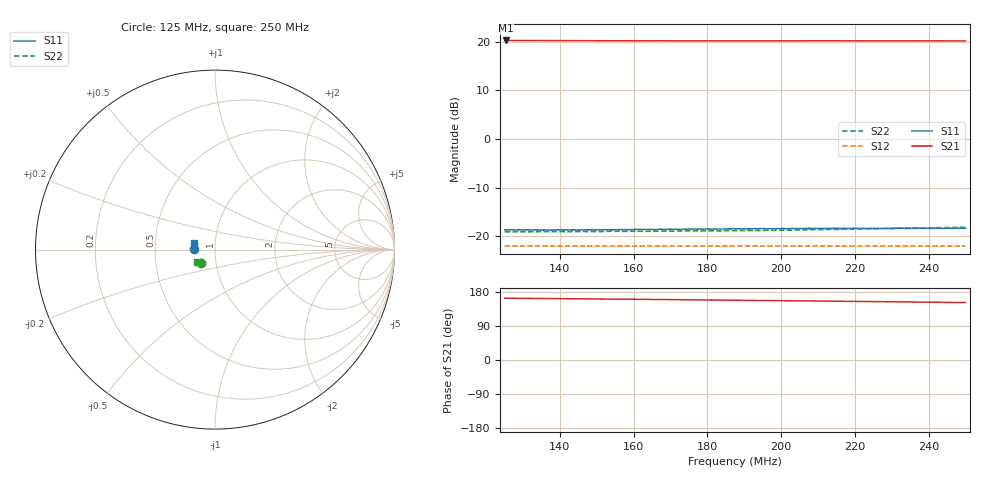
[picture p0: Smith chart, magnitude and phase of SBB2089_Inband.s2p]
!Agilent Technologies,N5230A,US44240068,A.07.50.67
!Agilent N5230A: A.07.50.67
!Date: Wednesday, November 10, 2021 19:12:37
!Correction: S11(Full 2 Port(1,2))
!S21(Full 2 Port(1,2))
!S12(Full 2 Port(1,2))
!S22(Full 2 Port(1,2))
!S2P File: Measurements: S11, S21, S12, S22:
# Hz S  dB  R 50
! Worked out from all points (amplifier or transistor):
!   3201 points, 125 MHz to 250 MHz, reference 50 ohm
!   highest |S21| = 20.3 dB at 125.3 MHz (marker M1)
!   |S21| within 3 dB of that: start of sweep to end of sweep
!   unconditionally stable (mu >= 1): start of sweep to end of sweep
!   at 145.8 MHz: K = 1.01, MAG = 20.5 dB, |S12| = -22.0 dB
!   at 187.5 MHz: K = 1.01, MAG = 20.4 dB, |S12| = -22.0 dB
!   at 250 MHz: K = 1.01, MAG = 20.5 dB, |S12| = -22.0 dB
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1.25e8  -18.62 179.3  20.27 163.1  -21.95 -6.9  -19.08 -135.9
1.252734e8  -18.65 179.3  20.27 163.1  -21.95 -7.1  -19.06 -135.9
1.272266e8  -18.67 179.2  20.26 162.9  -21.97 -7.0  -19.05 -136.3
1.305078e8  -18.68 178.8  20.26 162.7  -21.97 -7.4  -19.06 -136.9
1.328906e8  -18.69 178.6  20.25 162.5  -21.99 -7.5  -19.03 -137.5
1.395312e8  -18.65 177.8  20.23 161.9  -21.98 -8.0  -19.03 -138.4
1.458594e8  -18.67 177.0  20.22 161.4  -21.97 -8.6  -19.00 -139.1
1.530078e8  -18.62 176.4  20.21 160.9  -21.96 -9.0  -18.97 -140.2
1.666797e8  -18.56 174.2  20.20 159.7  -21.97 -10.1  -18.92 -141.4
1.688281e8  -18.56 173.9  20.20 159.5  -21.96 -10.1  -18.91 -141.8
1.709766e8  -18.56 173.7  20.19 159.3  -21.99 -10.3  -18.88 -142.0
1.808984e8  -18.49 172.3  20.19 158.4  -21.96 -10.9  -18.86 -142.6
1.830469e8  -18.49 171.8  20.20 158.2  -21.97 -11.0  -18.87 -142.7
1.848047e8  -18.49 171.5  20.19 158.1  -21.97 -11.4  -18.84 -142.8
1.875e8  -18.44 171.0  20.19 157.8  -21.97 -11.6  -18.81 -142.9
1.974219e8  -18.43 169.5  20.20 156.9  -21.98 -12.2  -18.76 -143.3
2.083594e8  -18.38 167.9  20.20 155.8  -21.95 -13.0  -18.64 -143.7
2.134766e8  -18.38 167.1  20.20 155.3  -21.97 -13.6  -18.56 -143.6
2.291797e8  -18.35 164.8  20.20 153.7  -21.97 -14.7  -18.39 -144.3
2.390234e8  -18.32 163.3  20.19 152.7  -21.96 -15.2  -18.26 -144.4
2.420312e8  -18.33 162.8  20.18 152.4  -21.99 -15.6  -18.19 -144.6
2.5e8  -18.35 161.5  20.18 151.6  -21.98 -16.1  -18.15 -144.8
